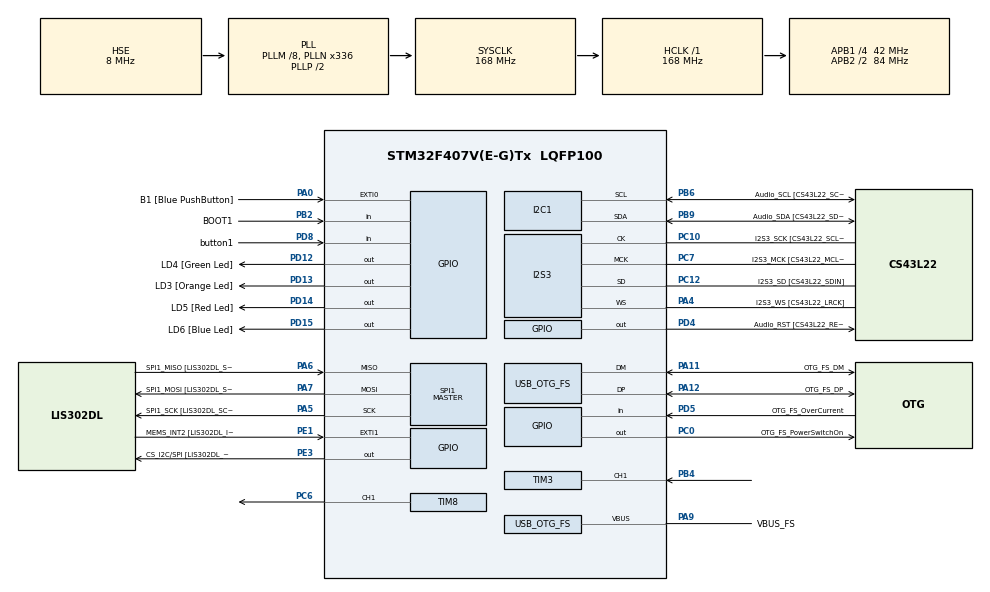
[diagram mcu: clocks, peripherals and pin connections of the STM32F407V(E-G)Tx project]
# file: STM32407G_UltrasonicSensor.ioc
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I2S3.AudioFreq-Half_Duplex_Master=I2S_AUDIOFREQ_96K
I2S3.ErrorAudioFreq=-2.34 %
I2S3.ErrorAudioFreq-Half_Duplex_Master=0.8 %
I2S3.FullDuplexMode=I2S_FULLDUPLEXMODE_DISABLE
I2S3.Instance=SPI$Index
I2S3.RealAudioFreq=93.75 KHz
I2S3.RealAudioFreq-Half_Duplex_Master=96.774 KHz
I2S3.VirtualMode=I2S_MODE_MASTER
Mcu.Family=STM32F4
Mcu.Name=STM32F407V(E-G)Tx
Mcu.Package=LQFP100
NVIC.OTG_FS_IRQn=true\:0\:0\:false\:false\:true\:true\:true\:true
NVIC.PriorityGroup=NVIC_PRIORITYGROUP_0
NVIC.TIM3_IRQn=true\:0\:0\:false\:false\:true\:true\:true\:true
PA0-WKUP.GPIO_Label=B1 [Blue PushButton]
PA0-WKUP.GPIO_ModeDefaultEXTI=GPIO_MODE_EVT_RISING
PA0-WKUP.GPIO_PuPd=GPIO_NOPULL
PA0-WKUP.Signal=GPXTI0
PA10.GPIO_Label=OTG_FS_ID
PA10.GPIO_Mode=GPIO_MODE_AF_PP
PA10.GPIO_PuPd=GPIO_NOPULL
PA10.GPIO_Speed=GPIO_SPEED_FREQ_LOW
PA10.Signal=USB_OTG_FS_ID
PA11.GPIO_Label=OTG_FS_DM
PA11.GPIO_Mode=GPIO_MODE_AF_PP
PA11.GPIO_PuPd=GPIO_NOPULL
PA11.GPIO_Speed=GPIO_SPEED_FREQ_LOW
PA11.Mode=Host_Only
PA11.Signal=USB_OTG_FS_DM
PA12.GPIO_Label=OTG_FS_DP
PA12.GPIO_Mode=GPIO_MODE_AF_PP
PA12.GPIO_PuPd=GPIO_NOPULL
PA12.GPIO_Speed=GPIO_SPEED_FREQ_LOW
PA12.Mode=Host_Only
PA12.Signal=USB_OTG_FS_DP
PA13.GPIO_Label=SWDIO
PA13.Mode=Serial_Wire
PA13.Signal=SYS_JTMS-SWDIO
PA14.GPIO_Label=SWCLK
PA14.Mode=Serial_Wire
PA14.Signal=SYS_JTCK-SWCLK
PA4.GPIO_Label=I2S3_WS [CS43L22_LRCK]
PA4.GPIO_Mode=GPIO_MODE_AF_PP
PA4.GPIO_PuPd=GPIO_NOPULL
PA4.GPIO_Speed=GPIO_SPEED_FREQ_LOW
PA4.Mode=Half_Duplex_Master
PA4.Signal=I2S3_WS
PA5.GPIO_Label=SPI1_SCK [LIS302DL_SCL/SPC]
PA5.GPIO_Mode=GPIO_MODE_AF_PP
PA5.GPIO_PuPd=GPIO_NOPULL
PA5.GPIO_Speed=GPIO_SPEED_FREQ_LOW
PA5.Mode=Full_Duplex_Master
PA5.Signal=SPI1_SCK
PA6.GPIO_Label=SPI1_MISO [LIS302DL_SDO]
PA6.GPIO_Mode=GPIO_MODE_AF_PP
PA6.GPIO_PuPd=GPIO_NOPULL
PA6.GPIO_Speed=GPIO_SPEED_FREQ_LOW
PA6.Mode=Full_Duplex_Master
PA6.Signal=SPI1_MISO
PA7.GPIO_Label=SPI1_MOSI [LIS302DL_SDA/SDI/SDO]
PA7.GPIO_Mode=GPIO_MODE_AF_PP
PA7.GPIO_PuPd=GPIO_NOPULL
PA7.GPIO_Speed=GPIO_SPEED_FREQ_LOW
PA7.Mode=Full_Duplex_Master
PA7.Signal=SPI1_MOSI
PA9.GPIO_Label=VBUS_FS
PA9.GPIO_Mode=GPIO_MODE_INPUT
PA9.GPIO_PuPd=GPIO_NOPULL
PA9.Mode=Activate_VBUS
PA9.Signal=USB_OTG_FS_VBUS
PB10.GPIO_Label=CLK_IN [MP45DT02_CLK]
PB10.GPIO_Mode=GPIO_MODE_AF_PP
PB10.GPIO_PuPd=GPIO_NOPULL
PB10.GPIO_Speed=GPIO_SPEED_FREQ_LOW
PB10.Signal=I2S2_CK
PB2.GPIO_Label=BOOT1
PB2.GPIO_Mode=GPIO_MODE_INPUT
PB2.GPIO_PuPd=GPIO_NOPULL
PB2.Signal=GPIO_Input
PB3.GPIO_Label=SWO
PB3.Signal=SYS_JTDO-SWO
PB4.Signal=S_TIM3_CH1
PB6.GPIO_Label=Audio_SCL [CS43L22_SCL]
PB6.GPIO_Mode=GPIO_MODE_AF_OD
PB6.GPIO_Pu=GPIO_PULLUP
PB6.GPIO_PuPd=GPIO_NOPULL
PB6.GPIO_Speed=GPIO_SPEED_FREQ_LOW
PB6.Mode=I2C
PB6.Signal=I2C1_SCL
PB9.GPIO_Label=Audio_SDA [CS43L22_SDA]
PB9.GPIO_Mode=GPIO_MODE_AF_OD
PB9.GPIO_Pu=GPIO_PULLUP
PB9.GPIO_PuPd=GPIO_NOPULL
PB9.GPIO_Speed=GPIO_SPEED_FREQ_LOW
PB9.Mode=I2C
PB9.Signal=I2C1_SDA
PC0.GPIO_Label=OTG_FS_PowerSwitchOn
PC0.GPIO_PuPd=GPIO_NOPULL
PC0.GPIO_Speed=GPIO_SPEED_FREQ_LOW
PC0.PinState=GPIO_PIN_SET
PC0.Signal=GPIO_Output
PC10.GPIO_Label=I2S3_SCK [CS43L22_SCLK]
PC10.GPIO_Mode=GPIO_MODE_AF_PP
PC10.GPIO_PuPd=GPIO_NOPULL
PC10.GPIO_Speed=GPIO_SPEED_FREQ_LOW
PC10.Mode=Half_Duplex_Master
PC10.Signal=I2S3_CK
PC12.GPIO_Label=I2S3_SD [CS43L22_SDIN]
PC12.GPIO_Mode=GPIO_MODE_AF_PP
PC12.GPIO_PuPd=GPIO_NOPULL
PC12.GPIO_Speed=GPIO_SPEED_FREQ_LOW
PC12.Mode=Half_Duplex_Master
PC12.Signal=I2S3_SD
PC14-OSC32_IN.GPIO_Label=PC14-OSC32_IN
PC14-OSC32_IN.Mode=LSE-External-Oscillator
PC14-OSC32_IN.Signal=RCC_OSC32_IN
PC15-OSC32_OUT.GPIO_Label=PC15-OSC32_OUT
PC15-OSC32_OUT.Mode=LSE-External-Oscillator
PC15-OSC32_OUT.Signal=RCC_OSC32_OUT
PC3.GPIO_Label=PDM_OUT [MP45DT02_DOUT]
PC3.GPIO_Mode=GPIO_MODE_AF_PP
PC3.GPIO_PuPd=GPIO_NOPULL
PC3.GPIO_Speed=GPIO_SPEED_FREQ_LOW
PC3.Signal=I2S2_SD
PC6.Signal=S_TIM8_CH1
PC7.GPIO_Label=I2S3_MCK [CS43L22_MCLK]
PC7.GPIO_Mode=GPIO_MODE_AF_PP
PC7.GPIO_PuPd=GPIO_NOPULL
PC7.GPIO_Speed=GPIO_SPEED_FREQ_LOW
PC7.Mode=Master_Clock_Activated
PC7.Signal=I2S3_MCK
PD12.GPIO_Label=LD4 [Green Led]
PD12.GPIO_PuPd=GPIO_NOPULL
PD12.GPIO_Speed=GPIO_SPEED_FREQ_LOW
PD12.Signal=GPIO_Output
PD13.GPIO_Label=LD3 [Orange Led]
PD13.GPIO_PuPd=GPIO_NOPULL
PD13.GPIO_Speed=GPIO_SPEED_FREQ_LOW
PD13.Signal=GPIO_Output
PD14.GPIO_Label=LD5 [Red Led]
PD14.GPIO_PuPd=GPIO_NOPULL
PD14.GPIO_Speed=GPIO_SPEED_FREQ_LOW
PD14.Signal=GPIO_Output
PD15.GPIO_Label=LD6 [Blue Led]
PD15.GPIO_PuPd=GPIO_NOPULL
PD15.GPIO_Speed=GPIO_SPEED_FREQ_LOW
PD15.Signal=GPIO_Output
PD4.GPIO_Label=Audio_RST [CS43L22_RESET]
PD4.GPIO_PuPd=GPIO_NOPULL
PD4.GPIO_Speed=GPIO_SPEED_FREQ_LOW
PD4.Signal=GPIO_Output
PD5.GPIO_Label=OTG_FS_OverCurrent
PD5.GPIO_Mode=GPIO_MODE_INPUT
PD5.GPIO_PuPd=GPIO_NOPULL
PD5.Signal=GPIO_Input
PD8.GPIO_Label=button1
PD8.GPIO_PuPd=GPIO_PULLDOWN
PD8.Signal=GPIO_Input
PE1.GPIO_Label=MEMS_INT2 [LIS302DL_INT2]
PE1.GPIO_ModeDefaultEXTI=GPIO_MODE_EVT_RISING
PE1.GPIO_PuPd=GPIO_NOPULL
PE1.Signal=GPXTI1
PE3.GPIO_Label=CS_I2C/SPI [LIS302DL_CS_I2C/SPI]
PE3.GPIO_PuPd=GPIO_NOPULL
PE3.GPIO_Speed=GPIO_SPEED_FREQ_LOW
PE3.Signal=GPIO_Output
PH0-OSC_IN.GPIO_Label=PH0-OSC_IN
PH0-OSC_IN.Mode=HSE-External-Oscillator
PH0-OSC_IN.Signal=RCC_OSC_IN
PH1-OSC_OUT.GPIO_Label=PH1-OSC_OUT
PH1-OSC_OUT.Mode=HSE-External-Oscillator
PH1-OSC_OUT.Signal=RCC_OSC_OUT
ProjectManager.HeapSize=0x200
ProjectManager.StackSize=0x400
ProjectManager.TargetToolchain=STM32CubeIDE
RCC.48MHZClocksFreq_Value=48000000
RCC.AHBFreq_Value=168000000
RCC.APB1CLKDivider=RCC_HCLK_DIV4
RCC.APB1Freq_Value=42000000
RCC.APB1TimFreq_Value=84000000
RCC.APB2CLKDivider=RCC_HCLK_DIV2
RCC.APB2Freq_Value=84000000
RCC.APB2TimFreq_Value=168000000
RCC.CortexFreq_Value=168000000
RCC.HCLKFreq_Value=168000000
RCC.HSE_VALUE=8000000
RCC.HSI_VALUE=16000000
RCC.PLLM=8
RCC.PLLN=336
RCC.PLLQ=7
RCC.SYSCLKFreq_VALUE=168000000
RCC.SYSCLKSource=RCC_SYSCLKSOURCE_PLLCLK
RCC.VCOOutputFreq_Value=336000000
SH.S_TIM3_CH1.0=TIM3_CH1,Input_Capture1_from_TI1
SH.S_TIM8_CH1.0=TIM8_CH1,PWM Generation1 CH1
SPI1.BaudRatePrescaler-Full_Duplex_Master=SPI_BAUDRATEPRESCALER_2
SPI1.CalculateBaudRate-Full_Duplex_Master=42.0 MBits/s
SPI1.Direction=SPI_DIRECTION_2LINES
SPI1.Mode=SPI_MODE_MASTER
SPI1.Mode-Full_Duplex_Master=SPI_MODE_MASTER
SPI1.VirtualType=VM_MASTER
TIM3.Channel-Input_Capture1_from_TI1=TIM_CHANNEL_1
TIM3.ICPolarity_CH1=TIM_INPUTCHANNELPOLARITY_BOTHEDGE
TIM3.Prescaler=83
TIM8.Channel-PWM\ Generation1\ CH1=TIM_CHANNEL_1
TIM8.Period=60000
TIM8.Prescaler=167
TIM8.Pulse-PWM\ Generation1\ CH1=10
USB_HOST.BSP.number=1
USB_HOST.USBH_HandleTypeDef-CDC_FS=hUsbHostFS
USB_HOST.VirtualModeFS=Cdc
USB_HOST0.BSP.STBoard=false
USB_HOST0.BSP.api=Unknown
USB_HOST0.BSP.instance=PC0
USB_HOST0.BSP.ip=GPIO
USB_HOST0.BSP.mode=Output
USB_HOST0.BSP.name=Drive_VBUS_FS
USB_HOST0.BSP.solution=PC0
USB_OTG_FS.VirtualMode=Host_Only
USB_OTG_FS.phy_itface=HCD_PHY_EMBEDDED
VP_TIM3_VS_ClockSourceINT.Mode=Internal
VP_TIM8_VS_ClockSourceINT.Mode=Internal
VP_USB_HOST_VS_USB_HOST_CDC_FS.Mode=CDC_FS
board=STM32F407G-DISC1

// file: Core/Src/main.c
/* USER CODE BEGIN Header */
/**
  ******************************************************************************
  * @file           : main.c
  * @brief          : Main program body
  ******************************************************************************
  * @attention
  *
  * Copyright (c) 2025 STMicroelectronics.
  * All rights reserved.
  *
  * This software is licensed under terms that can be found in the LICENSE file
  * in the root directory of this software component.
  * If no LICENSE file comes with this software, it is provided AS-IS.
  *
  ******************************************************************************
  */
/* USER CODE END Header */
#include "main.h"
#include "usb_host.h"

I2C_HandleTypeDef hi2c1;

I2S_HandleTypeDef hi2s3;

SPI_HandleTypeDef hspi1;

TIM_HandleTypeDef htim3;
TIM_HandleTypeDef htim8;

/* USER CODE BEGIN PV */
volatile uint32_t ic_val1 = 0;
volatile uint32_t ic_val2 = 0;
volatile uint8_t  edge_idx = 0;
volatile float    distance_cm = 0;
/* USER CODE END PV */

void SystemClock_Config(void);
static void MX_GPIO_Init(void);
static void MX_I2C1_Init(void);
static void MX_I2S3_Init(void);
static void MX_SPI1_Init(void);
static void MX_TIM3_Init(void);
static void MX_TIM8_Init(void);
void MX_USB_HOST_Process(void);

int main(void)
{

  /* MCU Configuration--------------------------------------------------------*/

  /* Reset of all peripherals, Initializes the Flash interface and the Systick. */
  HAL_Init();

  /* Configure the system clock */
  SystemClock_Config();

  /* Initialize all configured peripherals */
  MX_GPIO_Init();
  MX_I2C1_Init();
  MX_I2S3_Init();
  MX_SPI1_Init();
  MX_USB_HOST_Init();
  MX_TIM3_Init();
  MX_TIM8_Init();
  /* USER CODE BEGIN 2 */
  HAL_TIM_PWM_Start(&htim8, TIM_CHANNEL_1);
   HAL_TIM_IC_Start_IT(&htim9, TIM_CHANNEL_1);
  /* USER CODE END 2 */

  /* Infinite loop */
  /* USER CODE BEGIN WHILE */
  while (1)
  {
	  HAL_Delay(100); /* extra delay to counter the "more than 60ms" requriement on assignment */
    /* USER CODE END WHILE */
    MX_USB_HOST_Process();

  }
}

void SystemClock_Config(void)
{
  RCC_OscInitTypeDef RCC_OscInitStruct = {0};
  RCC_ClkInitTypeDef RCC_ClkInitStruct = {0};

  /** Configure the main internal regulator output voltage
  */
  __HAL_RCC_PWR_CLK_ENABLE();
  __HAL_PWR_VOLTAGESCALING_CONFIG(PWR_REGULATOR_VOLTAGE_SCALE1);

  /** Initializes the RCC Oscillators according to the specified parameters
  * in the RCC_OscInitTypeDef structure.
  */
  RCC_OscInitStruct.OscillatorType = RCC_OSCILLATORTYPE_HSE;
  RCC_OscInitStruct.HSEState = RCC_HSE_ON;
  RCC_OscInitStruct.PLL.PLLState = RCC_PLL_ON;
  RCC_OscInitStruct.PLL.PLLSource = RCC_PLLSOURCE_HSE;
  RCC_OscInitStruct.PLL.PLLM = 8;
  RCC_OscInitStruct.PLL.PLLN = 336;
  RCC_OscInitStruct.PLL.PLLP = RCC_PLLP_DIV2;
  RCC_OscInitStruct.PLL.PLLQ = 7;
  if (HAL_RCC_OscConfig(&RCC_OscInitStruct) != HAL_OK)
  {
    Error_Handler();
  }

  /** Initializes the CPU, AHB and APB buses clocks
  */
  RCC_ClkInitStruct.ClockType = RCC_CLOCKTYPE_HCLK|RCC_CLOCKTYPE_SYSCLK
                              |RCC_CLOCKTYPE_PCLK1|RCC_CLOCKTYPE_PCLK2;
  RCC_ClkInitStruct.SYSCLKSource = RCC_SYSCLKSOURCE_PLLCLK;
  RCC_ClkInitStruct.AHBCLKDivider = RCC_SYSCLK_DIV1;
  RCC_ClkInitStruct.APB1CLKDivider = RCC_HCLK_DIV4;
  RCC_ClkInitStruct.APB2CLKDivider = RCC_HCLK_DIV2;

  if (HAL_RCC_ClockConfig(&RCC_ClkInitStruct, FLASH_LATENCY_5) != HAL_OK)
  {
    Error_Handler();
  }
}

static void MX_I2C1_Init(void)
{

  hi2c1.Instance = I2C1;
  hi2c1.Init.ClockSpeed = 100000;
  hi2c1.Init.DutyCycle = I2C_DUTYCYCLE_2;
  hi2c1.Init.OwnAddress1 = 0;
  hi2c1.Init.AddressingMode = I2C_ADDRESSINGMODE_7BIT;
  hi2c1.Init.DualAddressMode = I2C_DUALADDRESS_DISABLE;
  hi2c1.Init.OwnAddress2 = 0;
  hi2c1.Init.GeneralCallMode = I2C_GENERALCALL_DISABLE;
  hi2c1.Init.NoStretchMode = I2C_NOSTRETCH_DISABLE;
  if (HAL_I2C_Init(&hi2c1) != HAL_OK)
  {
    Error_Handler();
  }

}

static void MX_I2S3_Init(void)
{

  hi2s3.Instance = SPI3;
  hi2s3.Init.Mode = I2S_MODE_MASTER_TX;
  hi2s3.Init.Standard = I2S_STANDARD_PHILIPS;
  hi2s3.Init.DataFormat = I2S_DATAFORMAT_16B;
  hi2s3.Init.MCLKOutput = I2S_MCLKOUTPUT_ENABLE;
  hi2s3.Init.AudioFreq = I2S_AUDIOFREQ_96K;
  hi2s3.Init.CPOL = I2S_CPOL_LOW;
  hi2s3.Init.ClockSource = I2S_CLOCK_PLL;
  hi2s3.Init.FullDuplexMode = I2S_FULLDUPLEXMODE_DISABLE;
  if (HAL_I2S_Init(&hi2s3) != HAL_OK)
  {
    Error_Handler();
  }

}

static void MX_SPI1_Init(void)
{

  /* SPI1 parameter configuration*/
  hspi1.Instance = SPI1;
  hspi1.Init.Mode = SPI_MODE_MASTER;
  hspi1.Init.Direction = SPI_DIRECTION_2LINES;
  hspi1.Init.DataSize = SPI_DATASIZE_8BIT;
  hspi1.Init.CLKPolarity = SPI_POLARITY_LOW;
  hspi1.Init.CLKPhase = SPI_PHASE_1EDGE;
  hspi1.Init.NSS = SPI_NSS_SOFT;
  hspi1.Init.BaudRatePrescaler = SPI_BAUDRATEPRESCALER_2;
  hspi1.Init.FirstBit = SPI_FIRSTBIT_MSB;
  hspi1.Init.TIMode = SPI_TIMODE_DISABLE;
  hspi1.Init.CRCCalculation = SPI_CRCCALCULATION_DISABLE;
  hspi1.Init.CRCPolynomial = 10;
  if (HAL_SPI_Init(&hspi1) != HAL_OK)
  {
    Error_Handler();
  }

}

static void MX_TIM3_Init(void)
{

  TIM_ClockConfigTypeDef sClockSourceConfig = {0};
  TIM_MasterConfigTypeDef sMasterConfig = {0};
  TIM_IC_InitTypeDef sConfigIC = {0};

  htim3.Instance = TIM3;
  htim3.Init.Prescaler = 83;
  htim3.Init.CounterMode = TIM_COUNTERMODE_UP;
  htim3.Init.Period = 65535;
  htim3.Init.ClockDivision = TIM_CLOCKDIVISION_DIV1;
  htim3.Init.AutoReloadPreload = TIM_AUTORELOAD_PRELOAD_DISABLE;
  if (HAL_TIM_Base_Init(&htim3) != HAL_OK)
  {
    Error_Handler();
  }
  sClockSourceConfig.ClockSource = TIM_CLOCKSOURCE_INTERNAL;
  if (HAL_TIM_ConfigClockSource(&htim3, &sClockSourceConfig) != HAL_OK)
  {
    Error_Handler();
  }
  if (HAL_TIM_IC_Init(&htim3) != HAL_OK)
  {
    Error_Handler();
  }
  sMasterConfig.MasterOutputTrigger = TIM_TRGO_RESET;
  sMasterConfig.MasterSlaveMode = TIM_MASTERSLAVEMODE_DISABLE;
  if (HAL_TIMEx_MasterConfigSynchronization(&htim3, &sMasterConfig) != HAL_OK)
  {
    Error_Handler();
  }
  sConfigIC.ICPolarity = TIM_INPUTCHANNELPOLARITY_BOTHEDGE;
  sConfigIC.ICSelection = TIM_ICSELECTION_DIRECTTI;
  sConfigIC.ICPrescaler = TIM_ICPSC_DIV1;
  sConfigIC.ICFilter = 0;
  if (HAL_TIM_IC_ConfigChannel(&htim3, &sConfigIC, TIM_CHANNEL_1) != HAL_OK)
  {
    Error_Handler();
  }

}

static void MX_TIM8_Init(void)
{

  TIM_ClockConfigTypeDef sClockSourceConfig = {0};
  TIM_MasterConfigTypeDef sMasterConfig = {0};
  TIM_OC_InitTypeDef sConfigOC = {0};
  TIM_BreakDeadTimeConfigTypeDef sBreakDeadTimeConfig = {0};

  htim8.Instance = TIM8;
  htim8.Init.Prescaler = 167;
  htim8.Init.CounterMode = TIM_COUNTERMODE_UP;
  htim8.Init.Period = 60000;
  htim8.Init.ClockDivision = TIM_CLOCKDIVISION_DIV1;
  htim8.Init.RepetitionCounter = 0;
  htim8.Init.AutoReloadPreload = TIM_AUTORELOAD_PRELOAD_DISABLE;
  if (HAL_TIM_Base_Init(&htim8) != HAL_OK)
  {
    Error_Handler();
  }
  sClockSourceConfig.ClockSource = TIM_CLOCKSOURCE_INTERNAL;
  if (HAL_TIM_ConfigClockSource(&htim8, &sClockSourceConfig) != HAL_OK)
  {
    Error_Handler();
  }
  if (HAL_TIM_PWM_Init(&htim8) != HAL_OK)
  {
    Error_Handler();
  }
  sMasterConfig.MasterOutputTrigger = TIM_TRGO_RESET;
  sMasterConfig.MasterSlaveMode = TIM_MASTERSLAVEMODE_DISABLE;
  if (HAL_TIMEx_MasterConfigSynchronization(&htim8, &sMasterConfig) != HAL_OK)
  {
    Error_Handler();
  }
  sConfigOC.OCMode = TIM_OCMODE_PWM1;
  sConfigOC.Pulse = 10;
  sConfigOC.OCPolarity = TIM_OCPOLARITY_HIGH;
  sConfigOC.OCNPolarity = TIM_OCNPOLARITY_HIGH;
  sConfigOC.OCFastMode = TIM_OCFAST_DISABLE;
  sConfigOC.OCIdleState = TIM_OCIDLESTATE_RESET;
  sConfigOC.OCNIdleState = TIM_OCNIDLESTATE_RESET;
  if (HAL_TIM_PWM_ConfigChannel(&htim8, &sConfigOC, TIM_CHANNEL_1) != HAL_OK)
  {
    Error_Handler();
  }
  sBreakDeadTimeConfig.OffStateRunMode = TIM_OSSR_DISABLE;
  sBreakDeadTimeConfig.OffStateIDLEMode = TIM_OSSI_DISABLE;
  sBreakDeadTimeConfig.LockLevel = TIM_LOCKLEVEL_OFF;
  sBreakDeadTimeConfig.DeadTime = 0;
  sBreakDeadTimeConfig.BreakState = TIM_BREAK_DISABLE;
  sBreakDeadTimeConfig.BreakPolarity = TIM_BREAKPOLARITY_HIGH;
  sBreakDeadTimeConfig.AutomaticOutput = TIM_AUTOMATICOUTPUT_DISABLE;
  if (HAL_TIMEx_ConfigBreakDeadTime(&htim8, &sBreakDeadTimeConfig) != HAL_OK)
  {
    Error_Handler();
  }
  HAL_TIM_MspPostInit(&htim8);

}

static void MX_GPIO_Init(void)
{
  GPIO_InitTypeDef GPIO_InitStruct = {0};

  /* GPIO Ports Clock Enable */
  __HAL_RCC_GPIOE_CLK_ENABLE();
  __HAL_RCC_GPIOC_CLK_ENABLE();
  __HAL_RCC_GPIOH_CLK_ENABLE();
  __HAL_RCC_GPIOA_CLK_ENABLE();
  __HAL_RCC_GPIOB_CLK_ENABLE();
  __HAL_RCC_GPIOD_CLK_ENABLE();

  /*Configure GPIO pin Output Level */
  HAL_GPIO_WritePin(CS_I2C_SPI_GPIO_Port, CS_I2C_SPI_Pin, GPIO_PIN_RESET);

  /*Configure GPIO pin Output Level */
  HAL_GPIO_WritePin(OTG_FS_PowerSwitchOn_GPIO_Port, OTG_FS_PowerSwitchOn_Pin, GPIO_PIN_SET);

  /*Configure GPIO pin Output Level */
  HAL_GPIO_WritePin(GPIOD, LD4_Pin|LD3_Pin|LD5_Pin|LD6_Pin
                          |Audio_RST_Pin, GPIO_PIN_RESET);

  /*Configure GPIO pin : CS_I2C_SPI_Pin */
  GPIO_InitStruct.Pin = CS_I2C_SPI_Pin;
  GPIO_InitStruct.Mode = GPIO_MODE_OUTPUT_PP;
  GPIO_InitStruct.Pull = GPIO_NOPULL;
  GPIO_InitStruct.Speed = GPIO_SPEED_FREQ_LOW;
  HAL_GPIO_Init(CS_I2C_SPI_GPIO_Port, &GPIO_InitStruct);

  /*Configure GPIO pin : OTG_FS_PowerSwitchOn_Pin */
  GPIO_InitStruct.Pin = OTG_FS_PowerSwitchOn_Pin;
  GPIO_InitStruct.Mode = GPIO_MODE_OUTPUT_PP;
  GPIO_InitStruct.Pull = GPIO_NOPULL;
  GPIO_InitStruct.Speed = GPIO_SPEED_FREQ_LOW;
  HAL_GPIO_Init(OTG_FS_PowerSwitchOn_GPIO_Port, &GPIO_InitStruct);

  /*Configure GPIO pin : PDM_OUT_Pin */
  GPIO_InitStruct.Pin = PDM_OUT_Pin;
  GPIO_InitStruct.Mode = GPIO_MODE_AF_PP;
  GPIO_InitStruct.Pull = GPIO_NOPULL;
  GPIO_InitStruct.Speed = GPIO_SPEED_FREQ_LOW;
  GPIO_InitStruct.Alternate = GPIO_AF5_SPI2;
  HAL_GPIO_Init(PDM_OUT_GPIO_Port, &GPIO_InitStruct);

  /*Configure GPIO pin : B1_Pin */
  GPIO_InitStruct.Pin = B1_Pin;
  GPIO_InitStruct.Mode = GPIO_MODE_EVT_RISING;
  GPIO_InitStruct.Pull = GPIO_NOPULL;
  HAL_GPIO_Init(B1_GPIO_Port, &GPIO_InitStruct);

  /*Configure GPIO pin : BOOT1_Pin */
  GPIO_InitStruct.Pin = BOOT1_Pin;
  GPIO_InitStruct.Mode = GPIO_MODE_INPUT;
  GPIO_InitStruct.Pull = GPIO_NOPULL;
  HAL_GPIO_Init(BOOT1_GPIO_Port, &GPIO_InitStruct);

  /*Configure GPIO pin : CLK_IN_Pin */
  GPIO_InitStruct.Pin = CLK_IN_Pin;
  GPIO_InitStruct.Mode = GPIO_MODE_AF_PP;
  GPIO_InitStruct.Pull = GPIO_NOPULL;
  GPIO_InitStruct.Speed = GPIO_SPEED_FREQ_LOW;
  GPIO_InitStruct.Alternate = GPIO_AF5_SPI2;
  HAL_GPIO_Init(CLK_IN_GPIO_Port, &GPIO_InitStruct);

  /*Configure GPIO pin : button1_Pin */
  GPIO_InitStruct.Pin = button1_Pin;
  GPIO_InitStruct.Mode = GPIO_MODE_INPUT;
  GPIO_InitStruct.Pull = GPIO_PULLDOWN;
  HAL_GPIO_Init(button1_GPIO_Port, &GPIO_InitStruct);

  /*Configure GPIO pins : LD4_Pin LD3_Pin LD5_Pin LD6_Pin
                           Audio_RST_Pin */
  GPIO_InitStruct.Pin = LD4_Pin|LD3_Pin|LD5_Pin|LD6_Pin
                          |Audio_RST_Pin;
  GPIO_InitStruct.Mode = GPIO_MODE_OUTPUT_PP;
  GPIO_InitStruct.Pull = GPIO_NOPULL;
  GPIO_InitStruct.Speed = GPIO_SPEED_FREQ_LOW;
  HAL_GPIO_Init(GPIOD, &GPIO_InitStruct);

  /*Configure GPIO pin : OTG_FS_OverCurrent_Pin */
  GPIO_InitStruct.Pin = OTG_FS_OverCurrent_Pin;
  GPIO_InitStruct.Mode = GPIO_MODE_INPUT;
  GPIO_InitStruct.Pull = GPIO_NOPULL;
  HAL_GPIO_Init(OTG_FS_OverCurrent_GPIO_Port, &GPIO_InitStruct);

  /*Configure GPIO pin : MEMS_INT2_Pin */
  GPIO_InitStruct.Pin = MEMS_INT2_Pin;
  GPIO_InitStruct.Mode = GPIO_MODE_EVT_RISING;
  GPIO_InitStruct.Pull = GPIO_NOPULL;
  HAL_GPIO_Init(MEMS_INT2_GPIO_Port, &GPIO_InitStruct);

}

/* USER CODE BEGIN 4 */
void HAL_TIM_IC_CaptureCallback(TIM_HandleTypeDef *htim)
{
  if (htim->Instance == TIM9 &&
      htim->Channel  == HAL_TIM_ACTIVE_CHANNEL_1)
  {
    if (edge_idx == 0)               /* rising edge */
    {
      ic_val1  = HAL_TIM_ReadCapturedValue(htim, TIM_CHANNEL_1);
      edge_idx = 1;
    }
    else                              /* falling edge */
    {
      ic_val2 = HAL_TIM_ReadCapturedValue(htim, TIM_CHANNEL_1);

      uint32_t pulse_us = (ic_val2 >= ic_val1) ?
                          (ic_val2 - ic_val1) :
                          ((0xFFFF - ic_val1) + ic_val2); /* wrap around  in case */

      distance_cm = (float)pulse_us / 58.0f;  /* HC‑SR04 formula from datasheet  */

      edge_idx = 0;
      __HAL_TIM_SET_COUNTER(htim, 0);         /* reset*/
    }
  }
}
/* USER CODE END 4 */

void Error_Handler(void)
{
  __disable_irq();
  while (1)
  {
  }
}
